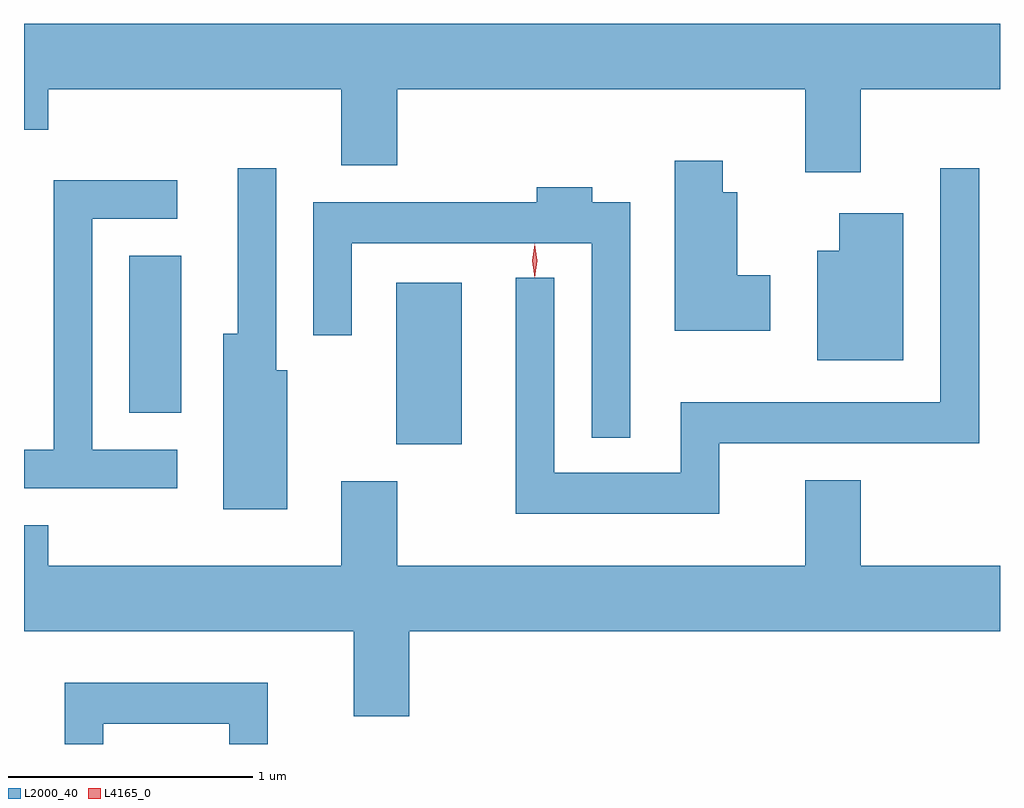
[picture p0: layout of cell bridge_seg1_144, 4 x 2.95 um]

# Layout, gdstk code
import gdstk
lib = gdstk.Library(unit=1e-6, precision=1e-09)
def R(c, l, rs):  # rectangles x0, y0, x1, y1
    for r in rs: c.add(gdstk.rectangle(r[:2], r[2:], *l))
def P(c, l, *ps):  # polygons
    for p in ps: c.add(gdstk.Polygon(p, *l))
L2000_40 = (2000, 40)
L4165_0 = (4165, 0)

bridge_seg1_144 = lib.new_cell('bridge_seg1_144')
R(bridge_seg1_144, L2000_40, [(857.586,911.441,857.854,912.104), (856.491,911.571,856.704,912.214)])
P(bridge_seg1_144, L2000_40, [(859.489,912.896),(860.06,912.896),(860.06,913.164),(856.06,913.164),(856.06,912.731),(856.159,912.731),(856.159,912.896),(857.361,912.896),(857.361,912.586),(857.589,912.586),(857.589,912.896),(859.261,912.896),(859.261,912.556),(859.489,912.556)],
  [(859.119,912.134),(858.984,912.134),(858.984,912.474),(858.924,912.474),(858.924,912.604),(858.726,912.604),(858.726,911.906),(859.119,911.906)],
  [(858.909,911.446),(859.974,911.446),(859.974,912.573),(859.816,912.573),(859.816,911.614),(858.751,911.614),(858.751,911.324),(858.234,911.324),(858.234,912.123),(858.076,912.123),(858.076,911.156),(858.909,911.156)],
  [(857.139,911.744),(857.094,911.744),(857.094,912.573),(856.936,912.573),(856.936,911.894),(856.876,911.894),(856.876,911.176),(857.139,911.176)],
  [(856.688,911.419),(856.339,911.419),(856.339,912.366),(856.688,912.366),(856.688,912.524),(856.181,912.524),(856.181,911.419),(856.06,911.419),(856.06,911.261),(856.688,911.261)],
  [(858.544,912.434),(858.389,912.434),(858.389,912.494),(858.161,912.494),(858.161,912.434),(857.246,912.434),(857.246,911.888),(857.404,911.888),(857.404,912.266),(858.386,912.266),(858.386,911.468),(858.544,911.468)],
  [(859.664,912.389),(859.401,912.389),(859.401,912.234),(859.311,912.234),(859.311,911.786),(859.664,911.786)],
  [(857.639,910.676),(860.06,910.676),(860.06,910.944),(859.489,910.944),(859.489,911.294),(859.261,911.294),(859.261,910.944),(857.589,910.944),(857.589,911.289),(857.361,911.289),(857.361,910.944),(856.159,910.944),(856.159,911.109),(856.06,911.109),(856.06,910.676),(857.411,910.676),(857.411,910.326),(857.639,910.326)],
  [(856.384,910.296),(856.901,910.296),(856.901,910.213),(857.059,910.213),(857.059,910.464),(856.226,910.464),(856.226,910.213),(856.384,910.213)])
P(bridge_seg1_144, L4165_0, [(858.153,912.124),(858.144,912.193),(858.153,912.262),(858.154,912.263),(858.154,912.262),(858.164,912.193),(858.154,912.124),(858.154,912.124)],
  [(858.154,912.127),(858.153,912.128),(858.144,912.194),(858.153,912.26),(858.154,912.26),(858.154,912.26),(858.164,912.194),(858.154,912.128)])

lib.write_gds('bridge_seg1_144.gds')
